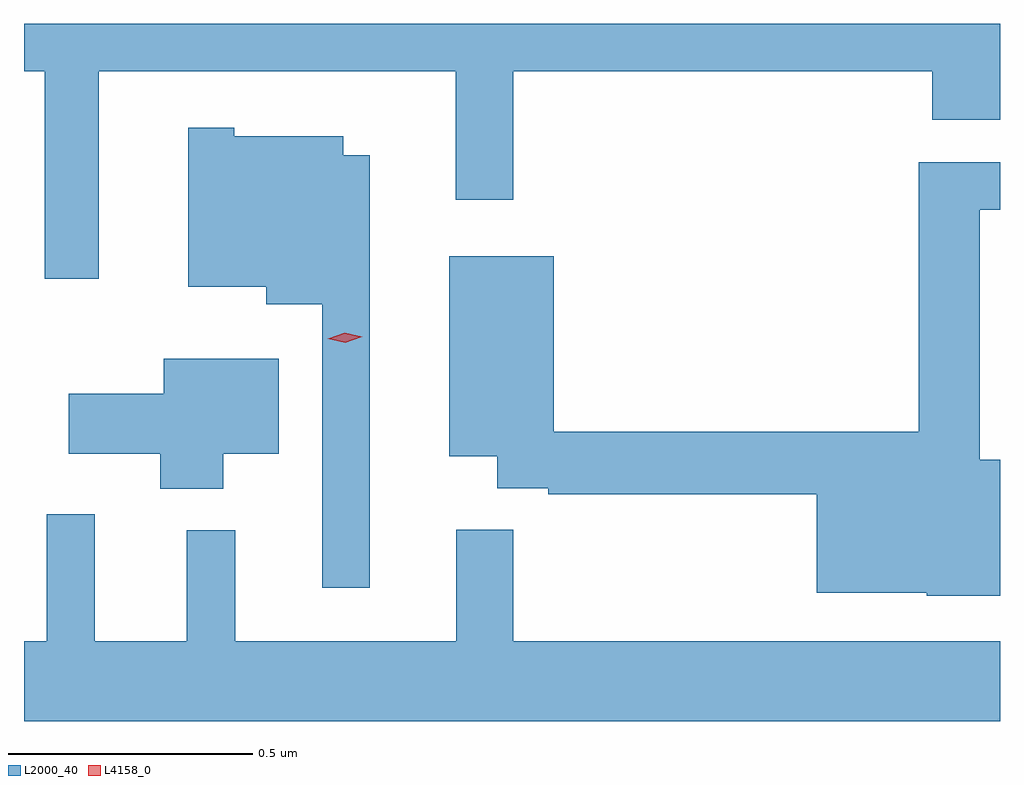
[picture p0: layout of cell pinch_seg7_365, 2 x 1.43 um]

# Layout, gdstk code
import gdstk
lib = gdstk.Library(unit=1e-6, precision=1e-09)
def P(c, l, *ps):  # polygons
    for p in ps: c.add(gdstk.Polygon(p, *l))
L2000_40 = (2000, 40)
L4158_0 = (4158, 0)

pinch_seg7_365 = lib.new_cell('pinch_seg7_365')
P(pinch_seg7_365, L2000_40, [(389.665,1039.244),(390.397,1039.244),(390.397,1038.981),(390.515,1038.981),(390.515,1039.244),(391.373,1039.244),(391.373,1039.145),(391.512,1039.145),(391.512,1039.342),(389.512,1039.342),(389.512,1039.244),(389.555,1039.244),(389.555,1038.819),(389.665,1038.819)],
  [(390.22,1039.072),(390.166,1039.072),(390.166,1039.111),(389.943,1039.111),(389.943,1039.129),(389.849,1039.129),(389.849,1038.803),(390.008,1038.803),(390.008,1038.767),(390.123,1038.767),(390.123,1038.186),(390.22,1038.186)],
  [(391.512,1038.448),(391.471,1038.448),(391.471,1038.96),(391.512,1038.96),(391.512,1039.058),(391.346,1039.058),(391.346,1038.506),(390.598,1038.506),(390.598,1038.865),(390.383,1038.865),(390.383,1038.455),(390.482,1038.455),(390.482,1038.39),(390.586,1038.39),(390.586,1038.378),(391.136,1038.378),(391.136,1038.176),(391.362,1038.176),(391.362,1038.17),(391.512,1038.17)],
  [(389.92,1038.461),(390.034,1038.461),(390.034,1038.655),(389.798,1038.655),(389.798,1038.583),(389.604,1038.583),(389.604,1038.461),(389.791,1038.461),(389.791,1038.389),(389.92,1038.389)],
  [(391.512,1038.076),(390.515,1038.076),(390.515,1038.305),(390.398,1038.305),(390.398,1038.076),(389.945,1038.076),(389.945,1038.304),(389.846,1038.304),(389.846,1038.076),(389.657,1038.076),(389.657,1038.337),(389.559,1038.337),(389.559,1038.076),(389.512,1038.076),(389.512,1037.912),(391.512,1037.912)])
P(pinch_seg7_365, L4158_0, [(390.17,1038.688),(390.134,1038.696),(390.134,1038.696),(390.134,1038.696),(390.169,1038.708),(390.205,1038.7),(390.205,1038.7),(390.205,1038.7)])

lib.write_gds('pinch_seg7_365.gds')
